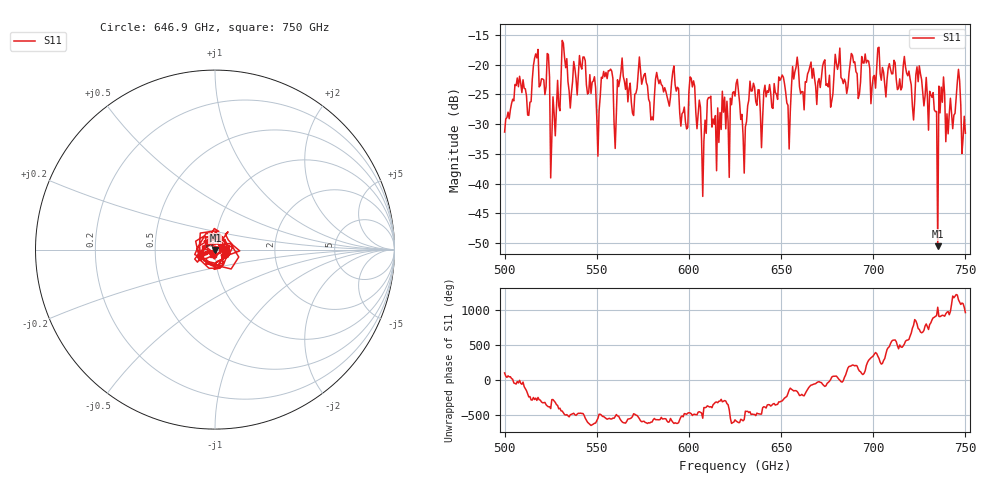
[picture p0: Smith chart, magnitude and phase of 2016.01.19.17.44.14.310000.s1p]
!Created with skrf (http://scikit-rf.org).
# GHz S RI R 50.0
!freq ReS11 ImS11
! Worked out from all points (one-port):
!   401 points, 500 GHz to 750 GHz, reference 50 ohm
!   lowest |S11| = -50.6 dB at 735 GHz (marker M1), VSWR 1.01, Z = 50.2 - j0.164 ohm
!   |S11| at or under -10 dB: start of sweep to end of sweep
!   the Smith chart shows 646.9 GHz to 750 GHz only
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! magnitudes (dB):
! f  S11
! 500 GHz  -31.3
! 506.9 GHz  -22.2
! 513.1 GHz  -28.5
! 516.9 GHz  -18.2
! 523.1 GHz  -18.1
! 526.2 GHz  -25.4
! 531.2 GHz  -15.9
! 542.5 GHz  -18.7
! 550.6 GHz  -35.4
! 560.6 GHz  -28.3
! 562.5 GHz  -22.6
! 593.8 GHz  -23.8
! 598.1 GHz  -29.6
! 601.9 GHz  -23.7
! 608.1 GHz  -32.8
! 610.6 GHz  -25.5
! 616.2 GHz  -33.1
! 625 GHz  -25.3
! 630 GHz  -38.2
! 634.4 GHz  -24.4
! 656.2 GHz  -20.3
! 687.5 GHz  -19.8
! 718.8 GHz  -21.8
! 735 GHz  -50.6
! 736.9 GHz  -23.8
! 740.6 GHz  -31.6
! 746.2 GHz  -20.8
! 750 GHz  -31.5
